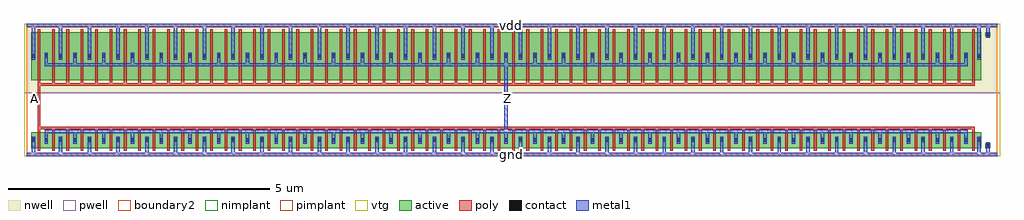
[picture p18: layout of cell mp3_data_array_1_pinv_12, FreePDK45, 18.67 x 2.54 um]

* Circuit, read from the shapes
.subckt mp3_data_array_1_pinv_12 A Z gnd vdd
M1 Z A gnd gnd nfet w=0.3075u l=0.05u m=66
M2 Z A vdd vdd pfet w=0.92u l=0.05u m=66
.ends

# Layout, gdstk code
import gdstk
lib = gdstk.Library(unit=1e-6, precision=5e-10)
def R(c, l, rs):  # rectangles x0, y0, x1, y1
    for r in rs: c.add(gdstk.rectangle(r[:2], r[2:], *l))
def A(c, l, x, y, w, h, nx, ny, dx, dy):  # array of equal rectangles
    R(c, l, [(x+i*dx, y+j*dy, x+i*dx+w, y+j*dy+h) for i in range(nx) for j in range(ny)])
active = (1, 0)
pwell = (2, 0)
nwell = (3, 0)
nimplant = (4, 0)
pimplant = (5, 0)
vtg = (6, 0)
poly = (9, 0)
contact = (10, 0)
metal1 = (11, 0)
boundary2 = (239, 0)

mp3_data_array_1_contact = lib.new_cell('mp3_data_array_1_contact_11')
R(mp3_data_array_1_contact, active, [(0,0.0225,0.09,0.1125)])
R(mp3_data_array_1_contact, nwell, [(-0.055,-0.0325,0.145,0.1675)])
R(mp3_data_array_1_contact, pimplant, [(0,0.0225,0.09,0.1125)])
R(mp3_data_array_1_contact, contact, [(0.0125,0.035,0.0775,0.1)])
R(mp3_data_array_1_contact, metal1, [(0.0125,0,0.0775,0.135)])
R(mp3_data_array_1_contact, boundary2, [(-0.055,-0.0325,0.145,0.1675)])

mp3_data_array_1_pmos_m6 = lib.new_cell('mp3_data_array_1_pmos_m66_w0_920_sm1_dm1_da_p')
R(mp3_data_array_1_pmos_m6, active, [(0,0,18.18,0.92)])
R(mp3_data_array_1_pmos_m6, nwell, [(-0.08,-0.08,18.26,1)])
R(mp3_data_array_1_pmos_m6, pimplant, [(0,0,18.18,0.92)])
R(mp3_data_array_1_pmos_m6, vtg, [(-0.08,-0.08,18.26,1)])
A(mp3_data_array_1_pmos_m6, poly, 0.1275, -0.055, 0.05, 1.03, 66, 1, 0.275, 0)
R(mp3_data_array_1_pmos_m6, poly, [(0.1275,-0.105,18.0525,-0.055)])
A(mp3_data_array_1_pmos_m6, metal1, 0.2575, 0.295, 0.065, 0.165, 33, 1, 0.55, 0)
A(mp3_data_array_1_pmos_m6, metal1, 0.5325, 0.3925, 0.065, 0.135, 32, 1, 0.55, 0)
R(mp3_data_array_1_pmos_m6, metal1, [(0.2575,0.2625,17.9225,0.3275), (0.0125,0.3925,0.0775,0.5275), (18.1025,0.3925,18.1675,0.5275)])
R(mp3_data_array_1_pmos_m6, boundary2, [(-0.08,-0.105,18.26,1)])
mp3_data_array_1_pmos_m6.add(gdstk.Reference(mp3_data_array_1_contact, (0,0.3925)))
mp3_data_array_1_pmos_m6.add(gdstk.Reference(mp3_data_array_1_contact, (0.245,0.3925)))
mp3_data_array_1_pmos_m6.add(gdstk.Reference(mp3_data_array_1_contact, (0.52,0.3925)))
mp3_data_array_1_pmos_m6.add(gdstk.Reference(mp3_data_array_1_contact, (0.795,0.3925)))
mp3_data_array_1_pmos_m6.add(gdstk.Reference(mp3_data_array_1_contact, (1.07,0.3925)))
mp3_data_array_1_pmos_m6.add(gdstk.Reference(mp3_data_array_1_contact, (1.345,0.3925)))
mp3_data_array_1_pmos_m6.add(gdstk.Reference(mp3_data_array_1_contact, (1.62,0.3925)))
mp3_data_array_1_pmos_m6.add(gdstk.Reference(mp3_data_array_1_contact, (1.895,0.3925)))
mp3_data_array_1_pmos_m6.add(gdstk.Reference(mp3_data_array_1_contact, (2.17,0.3925)))
mp3_data_array_1_pmos_m6.add(gdstk.Reference(mp3_data_array_1_contact, (2.445,0.3925)))
mp3_data_array_1_pmos_m6.add(gdstk.Reference(mp3_data_array_1_contact, (2.72,0.3925)))
mp3_data_array_1_pmos_m6.add(gdstk.Reference(mp3_data_array_1_contact, (2.995,0.3925)))
mp3_data_array_1_pmos_m6.add(gdstk.Reference(mp3_data_array_1_contact, (3.27,0.3925)))
mp3_data_array_1_pmos_m6.add(gdstk.Reference(mp3_data_array_1_contact, (3.545,0.3925)))
mp3_data_array_1_pmos_m6.add(gdstk.Reference(mp3_data_array_1_contact, (3.82,0.3925)))
mp3_data_array_1_pmos_m6.add(gdstk.Reference(mp3_data_array_1_contact, (4.095,0.3925)))
mp3_data_array_1_pmos_m6.add(gdstk.Reference(mp3_data_array_1_contact, (4.37,0.3925)))
mp3_data_array_1_pmos_m6.add(gdstk.Reference(mp3_data_array_1_contact, (4.645,0.3925)))
mp3_data_array_1_pmos_m6.add(gdstk.Reference(mp3_data_array_1_contact, (4.92,0.3925)))
mp3_data_array_1_pmos_m6.add(gdstk.Reference(mp3_data_array_1_contact, (5.195,0.3925)))
mp3_data_array_1_pmos_m6.add(gdstk.Reference(mp3_data_array_1_contact, (5.47,0.3925)))
mp3_data_array_1_pmos_m6.add(gdstk.Reference(mp3_data_array_1_contact, (5.745,0.3925)))
mp3_data_array_1_pmos_m6.add(gdstk.Reference(mp3_data_array_1_contact, (6.02,0.3925)))
mp3_data_array_1_pmos_m6.add(gdstk.Reference(mp3_data_array_1_contact, (6.295,0.3925)))
mp3_data_array_1_pmos_m6.add(gdstk.Reference(mp3_data_array_1_contact, (6.57,0.3925)))
mp3_data_array_1_pmos_m6.add(gdstk.Reference(mp3_data_array_1_contact, (6.845,0.3925)))
mp3_data_array_1_pmos_m6.add(gdstk.Reference(mp3_data_array_1_contact, (7.12,0.3925)))
mp3_data_array_1_pmos_m6.add(gdstk.Reference(mp3_data_array_1_contact, (7.395,0.3925)))
mp3_data_array_1_pmos_m6.add(gdstk.Reference(mp3_data_array_1_contact, (7.67,0.3925)))
mp3_data_array_1_pmos_m6.add(gdstk.Reference(mp3_data_array_1_contact, (7.945,0.3925)))
mp3_data_array_1_pmos_m6.add(gdstk.Reference(mp3_data_array_1_contact, (8.22,0.3925)))
mp3_data_array_1_pmos_m6.add(gdstk.Reference(mp3_data_array_1_contact, (8.495,0.3925)))
mp3_data_array_1_pmos_m6.add(gdstk.Reference(mp3_data_array_1_contact, (8.77,0.3925)))
mp3_data_array_1_pmos_m6.add(gdstk.Reference(mp3_data_array_1_contact, (9.045,0.3925)))
mp3_data_array_1_pmos_m6.add(gdstk.Reference(mp3_data_array_1_contact, (9.32,0.3925)))
mp3_data_array_1_pmos_m6.add(gdstk.Reference(mp3_data_array_1_contact, (9.595,0.3925)))
mp3_data_array_1_pmos_m6.add(gdstk.Reference(mp3_data_array_1_contact, (9.87,0.3925)))
mp3_data_array_1_pmos_m6.add(gdstk.Reference(mp3_data_array_1_contact, (10.145,0.3925)))
mp3_data_array_1_pmos_m6.add(gdstk.Reference(mp3_data_array_1_contact, (10.42,0.3925)))
mp3_data_array_1_pmos_m6.add(gdstk.Reference(mp3_data_array_1_contact, (10.695,0.3925)))
mp3_data_array_1_pmos_m6.add(gdstk.Reference(mp3_data_array_1_contact, (10.97,0.3925)))
mp3_data_array_1_pmos_m6.add(gdstk.Reference(mp3_data_array_1_contact, (11.245,0.3925)))
mp3_data_array_1_pmos_m6.add(gdstk.Reference(mp3_data_array_1_contact, (11.52,0.3925)))
mp3_data_array_1_pmos_m6.add(gdstk.Reference(mp3_data_array_1_contact, (11.795,0.3925)))
mp3_data_array_1_pmos_m6.add(gdstk.Reference(mp3_data_array_1_contact, (12.07,0.3925)))
mp3_data_array_1_pmos_m6.add(gdstk.Reference(mp3_data_array_1_contact, (12.345,0.3925)))
mp3_data_array_1_pmos_m6.add(gdstk.Reference(mp3_data_array_1_contact, (12.62,0.3925)))
mp3_data_array_1_pmos_m6.add(gdstk.Reference(mp3_data_array_1_contact, (12.895,0.3925)))
mp3_data_array_1_pmos_m6.add(gdstk.Reference(mp3_data_array_1_contact, (13.17,0.3925)))
mp3_data_array_1_pmos_m6.add(gdstk.Reference(mp3_data_array_1_contact, (13.445,0.3925)))
mp3_data_array_1_pmos_m6.add(gdstk.Reference(mp3_data_array_1_contact, (13.72,0.3925)))
mp3_data_array_1_pmos_m6.add(gdstk.Reference(mp3_data_array_1_contact, (13.995,0.3925)))
mp3_data_array_1_pmos_m6.add(gdstk.Reference(mp3_data_array_1_contact, (14.27,0.3925)))
mp3_data_array_1_pmos_m6.add(gdstk.Reference(mp3_data_array_1_contact, (14.545,0.3925)))
mp3_data_array_1_pmos_m6.add(gdstk.Reference(mp3_data_array_1_contact, (14.82,0.3925)))
mp3_data_array_1_pmos_m6.add(gdstk.Reference(mp3_data_array_1_contact, (15.095,0.3925)))
mp3_data_array_1_pmos_m6.add(gdstk.Reference(mp3_data_array_1_contact, (15.37,0.3925)))
mp3_data_array_1_pmos_m6.add(gdstk.Reference(mp3_data_array_1_contact, (15.645,0.3925)))
mp3_data_array_1_pmos_m6.add(gdstk.Reference(mp3_data_array_1_contact, (15.92,0.3925)))
mp3_data_array_1_pmos_m6.add(gdstk.Reference(mp3_data_array_1_contact, (16.195,0.3925)))
mp3_data_array_1_pmos_m6.add(gdstk.Reference(mp3_data_array_1_contact, (16.47,0.3925)))
mp3_data_array_1_pmos_m6.add(gdstk.Reference(mp3_data_array_1_contact, (16.745,0.3925)))
mp3_data_array_1_pmos_m6.add(gdstk.Reference(mp3_data_array_1_contact, (17.02,0.3925)))
mp3_data_array_1_pmos_m6.add(gdstk.Reference(mp3_data_array_1_contact, (17.295,0.3925)))
mp3_data_array_1_pmos_m6.add(gdstk.Reference(mp3_data_array_1_contact, (17.57,0.3925)))
mp3_data_array_1_pmos_m6.add(gdstk.Reference(mp3_data_array_1_contact, (17.845,0.3925)))
mp3_data_array_1_pmos_m6.add(gdstk.Reference(mp3_data_array_1_contact, (18.09,0.3925)))
mp3_data_array_1_pmos_m6.add(gdstk.Label('G', (9.09,-0.08), layer=9, texttype=0))
mp3_data_array_1_pmos_m6.add(gdstk.Label('S', (2.765,0.46), layer=11, texttype=0))
mp3_data_array_1_pmos_m6.add(gdstk.Label('S', (9.365,0.46), layer=11, texttype=0))
mp3_data_array_1_pmos_m6.add(gdstk.Label('S', (14.865,0.46), layer=11, texttype=0))
mp3_data_array_1_pmos_m6.add(gdstk.Label('S', (16.515,0.46), layer=11, texttype=0))
mp3_data_array_1_pmos_m6.add(gdstk.Label('S', (11.565,0.46), layer=11, texttype=0))
mp3_data_array_1_pmos_m6.add(gdstk.Label('S', (3.865,0.46), layer=11, texttype=0))
mp3_data_array_1_pmos_m6.add(gdstk.Label('S', (11.015,0.46), layer=11, texttype=0))
mp3_data_array_1_pmos_m6.add(gdstk.Label('S', (12.115,0.46), layer=11, texttype=0))
mp3_data_array_1_pmos_m6.add(gdstk.Label('S', (7.165,0.46), layer=11, texttype=0))
mp3_data_array_1_pmos_m6.add(gdstk.Label('S', (0.045,0.46), layer=11, texttype=0))
mp3_data_array_1_pmos_m6.add(gdstk.Label('S', (14.315,0.46), layer=11, texttype=0))
mp3_data_array_1_pmos_m6.add(gdstk.Label('S', (18.135,0.46), layer=11, texttype=0))
mp3_data_array_1_pmos_m6.add(gdstk.Label('S', (6.615,0.46), layer=11, texttype=0))
mp3_data_array_1_pmos_m6.add(gdstk.Label('S', (12.665,0.46), layer=11, texttype=0))
mp3_data_array_1_pmos_m6.add(gdstk.Label('S', (8.815,0.46), layer=11, texttype=0))
mp3_data_array_1_pmos_m6.add(gdstk.Label('S', (9.915,0.46), layer=11, texttype=0))
mp3_data_array_1_pmos_m6.add(gdstk.Label('S', (2.215,0.46), layer=11, texttype=0))
mp3_data_array_1_pmos_m6.add(gdstk.Label('S', (1.665,0.46), layer=11, texttype=0))
mp3_data_array_1_pmos_m6.add(gdstk.Label('S', (17.065,0.46), layer=11, texttype=0))
mp3_data_array_1_pmos_m6.add(gdstk.Label('S', (3.315,0.46), layer=11, texttype=0))
mp3_data_array_1_pmos_m6.add(gdstk.Label('S', (4.965,0.46), layer=11, texttype=0))
mp3_data_array_1_pmos_m6.add(gdstk.Label('S', (10.465,0.46), layer=11, texttype=0))
mp3_data_array_1_pmos_m6.add(gdstk.Label('S', (8.265,0.46), layer=11, texttype=0))
mp3_data_array_1_pmos_m6.add(gdstk.Label('S', (15.415,0.46), layer=11, texttype=0))
mp3_data_array_1_pmos_m6.add(gdstk.Label('S', (4.415,0.46), layer=11, texttype=0))
mp3_data_array_1_pmos_m6.add(gdstk.Label('S', (5.515,0.46), layer=11, texttype=0))
mp3_data_array_1_pmos_m6.add(gdstk.Label('S', (7.715,0.46), layer=11, texttype=0))
mp3_data_array_1_pmos_m6.add(gdstk.Label('S', (17.615,0.46), layer=11, texttype=0))
mp3_data_array_1_pmos_m6.add(gdstk.Label('S', (6.065,0.46), layer=11, texttype=0))
mp3_data_array_1_pmos_m6.add(gdstk.Label('S', (15.965,0.46), layer=11, texttype=0))
mp3_data_array_1_pmos_m6.add(gdstk.Label('S', (1.115,0.46), layer=11, texttype=0))
mp3_data_array_1_pmos_m6.add(gdstk.Label('S', (0.565,0.46), layer=11, texttype=0))
mp3_data_array_1_pmos_m6.add(gdstk.Label('S', (13.215,0.46), layer=11, texttype=0))
mp3_data_array_1_pmos_m6.add(gdstk.Label('S', (13.765,0.46), layer=11, texttype=0))
mp3_data_array_1_pmos_m6.add(gdstk.Label('D', (9.09,0.295), layer=11, texttype=0))

c_mp3_data_array_1_contact = lib.new_cell('mp3_data_array_1_contact_10')
R(c_mp3_data_array_1_contact, active, [(0,0.0225,0.09,0.1125)])
R(c_mp3_data_array_1_contact, pwell, [(-0.055,-0.0325,0.145,0.1675)])
R(c_mp3_data_array_1_contact, nimplant, [(0,0.0225,0.09,0.1125)])
R(c_mp3_data_array_1_contact, contact, [(0.0125,0.035,0.0775,0.1)])
R(c_mp3_data_array_1_contact, metal1, [(0.0125,0,0.0775,0.135)])
R(c_mp3_data_array_1_contact, boundary2, [(-0.055,-0.0325,0.145,0.1675)])

mp3_data_array_1_nmos_m6 = lib.new_cell('mp3_data_array_1_nmos_m66_w0_307_sm1_dm1_da_p')
R(mp3_data_array_1_nmos_m6, active, [(0,0,18.18,0.3075)])
R(mp3_data_array_1_nmos_m6, pwell, [(-0.08,-0.08,18.26,0.3875)])
R(mp3_data_array_1_nmos_m6, nimplant, [(0,0,18.18,0.3075)])
R(mp3_data_array_1_nmos_m6, vtg, [(-0.08,-0.08,18.26,0.3875)])
A(mp3_data_array_1_nmos_m6, poly, 0.1275, -0.055, 0.05, 0.4175, 66, 1, 0.275, 0)
R(mp3_data_array_1_nmos_m6, poly, [(0.1275,0.3625,18.0525,0.4125)])
A(mp3_data_array_1_nmos_m6, metal1, 0.5325, 0.085, 0.065, 0.135, 32, 1, 0.55, 0)
A(mp3_data_array_1_nmos_m6, metal1, 0.2575, 0.155, 0.065, 0.165, 33, 1, 0.55, 0)
R(mp3_data_array_1_nmos_m6, metal1, [(0.0125,0.085,0.0775,0.22), (18.1025,0.085,18.1675,0.22), (0.2575,0.285,17.9225,0.35)])
R(mp3_data_array_1_nmos_m6, boundary2, [(-0.08,-0.08,18.26,0.4125)])
mp3_data_array_1_nmos_m6.add(gdstk.Reference(c_mp3_data_array_1_contact, (0,0.085)))
mp3_data_array_1_nmos_m6.add(gdstk.Reference(c_mp3_data_array_1_contact, (0.245,0.085)))
mp3_data_array_1_nmos_m6.add(gdstk.Reference(c_mp3_data_array_1_contact, (0.52,0.085)))
mp3_data_array_1_nmos_m6.add(gdstk.Reference(c_mp3_data_array_1_contact, (0.795,0.085)))
mp3_data_array_1_nmos_m6.add(gdstk.Reference(c_mp3_data_array_1_contact, (1.07,0.085)))
mp3_data_array_1_nmos_m6.add(gdstk.Reference(c_mp3_data_array_1_contact, (1.345,0.085)))
mp3_data_array_1_nmos_m6.add(gdstk.Reference(c_mp3_data_array_1_contact, (1.62,0.085)))
mp3_data_array_1_nmos_m6.add(gdstk.Reference(c_mp3_data_array_1_contact, (1.895,0.085)))
mp3_data_array_1_nmos_m6.add(gdstk.Reference(c_mp3_data_array_1_contact, (2.17,0.085)))
mp3_data_array_1_nmos_m6.add(gdstk.Reference(c_mp3_data_array_1_contact, (2.445,0.085)))
mp3_data_array_1_nmos_m6.add(gdstk.Reference(c_mp3_data_array_1_contact, (2.72,0.085)))
mp3_data_array_1_nmos_m6.add(gdstk.Reference(c_mp3_data_array_1_contact, (2.995,0.085)))
mp3_data_array_1_nmos_m6.add(gdstk.Reference(c_mp3_data_array_1_contact, (3.27,0.085)))
mp3_data_array_1_nmos_m6.add(gdstk.Reference(c_mp3_data_array_1_contact, (3.545,0.085)))
mp3_data_array_1_nmos_m6.add(gdstk.Reference(c_mp3_data_array_1_contact, (3.82,0.085)))
mp3_data_array_1_nmos_m6.add(gdstk.Reference(c_mp3_data_array_1_contact, (4.095,0.085)))
mp3_data_array_1_nmos_m6.add(gdstk.Reference(c_mp3_data_array_1_contact, (4.37,0.085)))
mp3_data_array_1_nmos_m6.add(gdstk.Reference(c_mp3_data_array_1_contact, (4.645,0.085)))
mp3_data_array_1_nmos_m6.add(gdstk.Reference(c_mp3_data_array_1_contact, (4.92,0.085)))
mp3_data_array_1_nmos_m6.add(gdstk.Reference(c_mp3_data_array_1_contact, (5.195,0.085)))
mp3_data_array_1_nmos_m6.add(gdstk.Reference(c_mp3_data_array_1_contact, (5.47,0.085)))
mp3_data_array_1_nmos_m6.add(gdstk.Reference(c_mp3_data_array_1_contact, (5.745,0.085)))
mp3_data_array_1_nmos_m6.add(gdstk.Reference(c_mp3_data_array_1_contact, (6.02,0.085)))
mp3_data_array_1_nmos_m6.add(gdstk.Reference(c_mp3_data_array_1_contact, (6.295,0.085)))
mp3_data_array_1_nmos_m6.add(gdstk.Reference(c_mp3_data_array_1_contact, (6.57,0.085)))
mp3_data_array_1_nmos_m6.add(gdstk.Reference(c_mp3_data_array_1_contact, (6.845,0.085)))
mp3_data_array_1_nmos_m6.add(gdstk.Reference(c_mp3_data_array_1_contact, (7.12,0.085)))
mp3_data_array_1_nmos_m6.add(gdstk.Reference(c_mp3_data_array_1_contact, (7.395,0.085)))
mp3_data_array_1_nmos_m6.add(gdstk.Reference(c_mp3_data_array_1_contact, (7.67,0.085)))
mp3_data_array_1_nmos_m6.add(gdstk.Reference(c_mp3_data_array_1_contact, (7.945,0.085)))
mp3_data_array_1_nmos_m6.add(gdstk.Reference(c_mp3_data_array_1_contact, (8.22,0.085)))
mp3_data_array_1_nmos_m6.add(gdstk.Reference(c_mp3_data_array_1_contact, (8.495,0.085)))
mp3_data_array_1_nmos_m6.add(gdstk.Reference(c_mp3_data_array_1_contact, (8.77,0.085)))
mp3_data_array_1_nmos_m6.add(gdstk.Reference(c_mp3_data_array_1_contact, (9.045,0.085)))
mp3_data_array_1_nmos_m6.add(gdstk.Reference(c_mp3_data_array_1_contact, (9.32,0.085)))
mp3_data_array_1_nmos_m6.add(gdstk.Reference(c_mp3_data_array_1_contact, (9.595,0.085)))
mp3_data_array_1_nmos_m6.add(gdstk.Reference(c_mp3_data_array_1_contact, (9.87,0.085)))
mp3_data_array_1_nmos_m6.add(gdstk.Reference(c_mp3_data_array_1_contact, (10.145,0.085)))
mp3_data_array_1_nmos_m6.add(gdstk.Reference(c_mp3_data_array_1_contact, (10.42,0.085)))
mp3_data_array_1_nmos_m6.add(gdstk.Reference(c_mp3_data_array_1_contact, (10.695,0.085)))
mp3_data_array_1_nmos_m6.add(gdstk.Reference(c_mp3_data_array_1_contact, (10.97,0.085)))
mp3_data_array_1_nmos_m6.add(gdstk.Reference(c_mp3_data_array_1_contact, (11.245,0.085)))
mp3_data_array_1_nmos_m6.add(gdstk.Reference(c_mp3_data_array_1_contact, (11.52,0.085)))
mp3_data_array_1_nmos_m6.add(gdstk.Reference(c_mp3_data_array_1_contact, (11.795,0.085)))
mp3_data_array_1_nmos_m6.add(gdstk.Reference(c_mp3_data_array_1_contact, (12.07,0.085)))
mp3_data_array_1_nmos_m6.add(gdstk.Reference(c_mp3_data_array_1_contact, (12.345,0.085)))
mp3_data_array_1_nmos_m6.add(gdstk.Reference(c_mp3_data_array_1_contact, (12.62,0.085)))
mp3_data_array_1_nmos_m6.add(gdstk.Reference(c_mp3_data_array_1_contact, (12.895,0.085)))
mp3_data_array_1_nmos_m6.add(gdstk.Reference(c_mp3_data_array_1_contact, (13.17,0.085)))
mp3_data_array_1_nmos_m6.add(gdstk.Reference(c_mp3_data_array_1_contact, (13.445,0.085)))
mp3_data_array_1_nmos_m6.add(gdstk.Reference(c_mp3_data_array_1_contact, (13.72,0.085)))
mp3_data_array_1_nmos_m6.add(gdstk.Reference(c_mp3_data_array_1_contact, (13.995,0.085)))
mp3_data_array_1_nmos_m6.add(gdstk.Reference(c_mp3_data_array_1_contact, (14.27,0.085)))
mp3_data_array_1_nmos_m6.add(gdstk.Reference(c_mp3_data_array_1_contact, (14.545,0.085)))
mp3_data_array_1_nmos_m6.add(gdstk.Reference(c_mp3_data_array_1_contact, (14.82,0.085)))
mp3_data_array_1_nmos_m6.add(gdstk.Reference(c_mp3_data_array_1_contact, (15.095,0.085)))
mp3_data_array_1_nmos_m6.add(gdstk.Reference(c_mp3_data_array_1_contact, (15.37,0.085)))
mp3_data_array_1_nmos_m6.add(gdstk.Reference(c_mp3_data_array_1_contact, (15.645,0.085)))
mp3_data_array_1_nmos_m6.add(gdstk.Reference(c_mp3_data_array_1_contact, (15.92,0.085)))
mp3_data_array_1_nmos_m6.add(gdstk.Reference(c_mp3_data_array_1_contact, (16.195,0.085)))
mp3_data_array_1_nmos_m6.add(gdstk.Reference(c_mp3_data_array_1_contact, (16.47,0.085)))
mp3_data_array_1_nmos_m6.add(gdstk.Reference(c_mp3_data_array_1_contact, (16.745,0.085)))
mp3_data_array_1_nmos_m6.add(gdstk.Reference(c_mp3_data_array_1_contact, (17.02,0.085)))
mp3_data_array_1_nmos_m6.add(gdstk.Reference(c_mp3_data_array_1_contact, (17.295,0.085)))
mp3_data_array_1_nmos_m6.add(gdstk.Reference(c_mp3_data_array_1_contact, (17.57,0.085)))
mp3_data_array_1_nmos_m6.add(gdstk.Reference(c_mp3_data_array_1_contact, (17.845,0.085)))
mp3_data_array_1_nmos_m6.add(gdstk.Reference(c_mp3_data_array_1_contact, (18.09,0.085)))
mp3_data_array_1_nmos_m6.add(gdstk.Label('G', (9.09,0.3875), layer=9, texttype=0))
mp3_data_array_1_nmos_m6.add(gdstk.Label('S', (1.115,0.1525), layer=11, texttype=0))
mp3_data_array_1_nmos_m6.add(gdstk.Label('S', (3.865,0.1525), layer=11, texttype=0))
mp3_data_array_1_nmos_m6.add(gdstk.Label('S', (11.015,0.1525), layer=11, texttype=0))
mp3_data_array_1_nmos_m6.add(gdstk.Label('S', (13.765,0.1525), layer=11, texttype=0))
mp3_data_array_1_nmos_m6.add(gdstk.Label('S', (9.915,0.1525), layer=11, texttype=0))
mp3_data_array_1_nmos_m6.add(gdstk.Label('S', (0.045,0.1525), layer=11, texttype=0))
mp3_data_array_1_nmos_m6.add(gdstk.Label('S', (9.365,0.1525), layer=11, texttype=0))
mp3_data_array_1_nmos_m6.add(gdstk.Label('S', (5.515,0.1525), layer=11, texttype=0))
mp3_data_array_1_nmos_m6.add(gdstk.Label('S', (6.615,0.1525), layer=11, texttype=0))
mp3_data_array_1_nmos_m6.add(gdstk.Label('S', (7.165,0.1525), layer=11, texttype=0))
mp3_data_array_1_nmos_m6.add(gdstk.Label('S', (1.665,0.1525), layer=11, texttype=0))
mp3_data_array_1_nmos_m6.add(gdstk.Label('S', (7.715,0.1525), layer=11, texttype=0))
mp3_data_array_1_nmos_m6.add(gdstk.Label('S', (6.065,0.1525), layer=11, texttype=0))
mp3_data_array_1_nmos_m6.add(gdstk.Label('S', (2.215,0.1525), layer=11, texttype=0))
mp3_data_array_1_nmos_m6.add(gdstk.Label('S', (4.965,0.1525), layer=11, texttype=0))
mp3_data_array_1_nmos_m6.add(gdstk.Label('S', (8.265,0.1525), layer=11, texttype=0))
mp3_data_array_1_nmos_m6.add(gdstk.Label('S', (14.865,0.1525), layer=11, texttype=0))
mp3_data_array_1_nmos_m6.add(gdstk.Label('S', (17.065,0.1525), layer=11, texttype=0))
mp3_data_array_1_nmos_m6.add(gdstk.Label('S', (0.565,0.1525), layer=11, texttype=0))
mp3_data_array_1_nmos_m6.add(gdstk.Label('S', (3.315,0.1525), layer=11, texttype=0))
mp3_data_array_1_nmos_m6.add(gdstk.Label('S', (11.565,0.1525), layer=11, texttype=0))
mp3_data_array_1_nmos_m6.add(gdstk.Label('S', (18.135,0.1525), layer=11, texttype=0))
mp3_data_array_1_nmos_m6.add(gdstk.Label('S', (15.415,0.1525), layer=11, texttype=0))
mp3_data_array_1_nmos_m6.add(gdstk.Label('S', (8.815,0.1525), layer=11, texttype=0))
mp3_data_array_1_nmos_m6.add(gdstk.Label('S', (16.515,0.1525), layer=11, texttype=0))
mp3_data_array_1_nmos_m6.add(gdstk.Label('S', (12.665,0.1525), layer=11, texttype=0))
mp3_data_array_1_nmos_m6.add(gdstk.Label('S', (4.415,0.1525), layer=11, texttype=0))
mp3_data_array_1_nmos_m6.add(gdstk.Label('S', (14.315,0.1525), layer=11, texttype=0))
mp3_data_array_1_nmos_m6.add(gdstk.Label('S', (2.765,0.1525), layer=11, texttype=0))
mp3_data_array_1_nmos_m6.add(gdstk.Label('S', (13.215,0.1525), layer=11, texttype=0))
mp3_data_array_1_nmos_m6.add(gdstk.Label('S', (12.115,0.1525), layer=11, texttype=0))
mp3_data_array_1_nmos_m6.add(gdstk.Label('S', (15.965,0.1525), layer=11, texttype=0))
mp3_data_array_1_nmos_m6.add(gdstk.Label('S', (17.615,0.1525), layer=11, texttype=0))
mp3_data_array_1_nmos_m6.add(gdstk.Label('S', (10.465,0.1525), layer=11, texttype=0))
mp3_data_array_1_nmos_m6.add(gdstk.Label('D', (9.09,0.3175), layer=11, texttype=0))

c_mp3_data_array_1_contact_ = lib.new_cell('mp3_data_array_1_contact_12')
R(c_mp3_data_array_1_contact_, active, [(0,0.0225,0.09,0.1125)])
R(c_mp3_data_array_1_contact_, nwell, [(-0.055,-0.0325,0.145,0.1675)])
R(c_mp3_data_array_1_contact_, nimplant, [(0,0.0225,0.09,0.1125)])
R(c_mp3_data_array_1_contact_, contact, [(0.0125,0.035,0.0775,0.1)])
R(c_mp3_data_array_1_contact_, metal1, [(0.0125,0,0.0775,0.135)])
R(c_mp3_data_array_1_contact_, boundary2, [(-0.055,-0.0325,0.145,0.1675)])

c_mp3_data_array_1_contact__ = lib.new_cell('mp3_data_array_1_contact_13')
R(c_mp3_data_array_1_contact__, active, [(0,0.0225,0.09,0.1125)])
R(c_mp3_data_array_1_contact__, pwell, [(-0.055,-0.0325,0.145,0.1675)])
R(c_mp3_data_array_1_contact__, pimplant, [(0,0.0225,0.09,0.1125)])
R(c_mp3_data_array_1_contact__, contact, [(0.0125,0.035,0.0775,0.1)])
R(c_mp3_data_array_1_contact__, metal1, [(0.0125,0,0.0775,0.135)])
R(c_mp3_data_array_1_contact__, boundary2, [(-0.055,-0.0325,0.145,0.1675)])

c_mp3_data_array_1_contact___ = lib.new_cell('mp3_data_array_1_contact_14')
R(c_mp3_data_array_1_contact___, poly, [(0.03,0,0.105,0.075)])
R(c_mp3_data_array_1_contact___, contact, [(0.035,0.005,0.1,0.07)])
R(c_mp3_data_array_1_contact___, metal1, [(0,0.005,0.135,0.07)])
R(c_mp3_data_array_1_contact___, boundary2, [(0,0,0.135,0.075)])

mp3_data_array_1_pinv_12 = lib.new_cell('mp3_data_array_1_pinv_12')
R(mp3_data_array_1_pinv_12, pwell, [(-0.055,-0.0325,18.6175,1.185)])
R(mp3_data_array_1_pinv_12, nwell, [(-0.055,1.185,18.6175,2.505)])
R(mp3_data_array_1_pinv_12, vtg, [(-0.055,-0.0325,18.6175,1.185), (-0.055,1.185,18.6175,2.505)])
R(mp3_data_array_1_pinv_12, poly, [(0.2075,0.5375,0.2575,1.32), (0.14,1.045,0.2075,1.12)])
A(mp3_data_array_1_pinv_12, metal1, 0.6125, -0.0325, 0.065, 0.2425, 32, 1, 0.55, 0)
A(mp3_data_array_1_pinv_12, metal1, 0.6125, 1.8175, 0.065, 0.685, 32, 1, 0.55, 0)
R(mp3_data_array_1_pinv_12, metal1, [(0,-0.0325,18.5625,0.0325), (0.0925,-0.0325,0.1575,0.21), (18.1825,-0.0325,18.2475,0.21), (18.3525,0,18.4175,0.17), (9.1375,0.41,9.2025,1.7525), (0.0725,1.05,0.2075,1.115), (9.17,1.05,9.235,1.115), (0.0925,1.8175,0.1575,2.5025), (18.1825,1.8175,18.2475,2.5025), (18.3525,2.3,18.4175,2.47), (0,2.4375,18.5625,2.5025)])
R(mp3_data_array_1_pinv_12, boundary2, [(0,0,18.5625,2.47), (0,0,18.5625,2.47)])
mp3_data_array_1_pinv_12.add(gdstk.Reference(mp3_data_array_1_pmos_m6, (0.08,1.425)))
mp3_data_array_1_pinv_12.add(gdstk.Reference(mp3_data_array_1_nmos_m6, (0.08,0.125)))
mp3_data_array_1_pinv_12.add(gdstk.Reference(c_mp3_data_array_1_contact_, (18.34,2.2325)))
mp3_data_array_1_pinv_12.add(gdstk.Reference(c_mp3_data_array_1_contact__, (18.34,0.1025)))
mp3_data_array_1_pinv_12.add(gdstk.Reference(c_mp3_data_array_1_contact___, (0.0725,1.045)))
mp3_data_array_1_pinv_12.add(gdstk.Label('A', (0.14,1.0825), layer=11, texttype=0))
mp3_data_array_1_pinv_12.add(gdstk.Label('Z', (9.2025,1.0825), layer=11, texttype=0))
mp3_data_array_1_pinv_12.add(gdstk.Label('gnd', (9.281,0), layer=11, texttype=0))
mp3_data_array_1_pinv_12.add(gdstk.Label('vdd', (9.281,2.47), layer=11, texttype=0))

lib.write_gds('mp3_data_array_1_pinv_12.gds')
